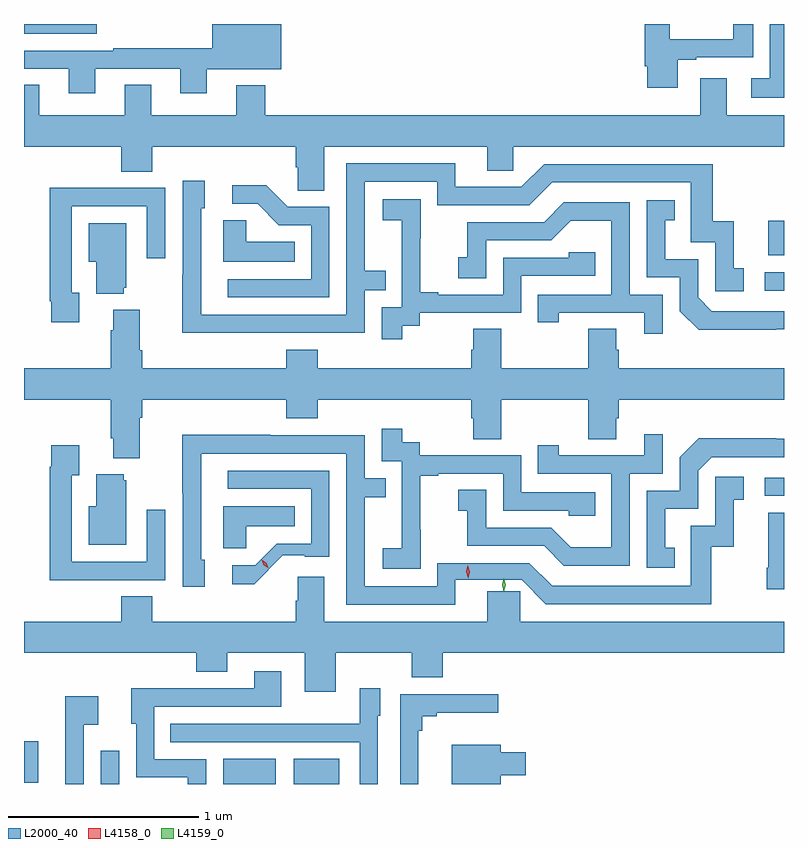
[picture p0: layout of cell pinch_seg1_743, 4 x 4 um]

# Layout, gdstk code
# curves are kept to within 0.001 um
import gdstk
lib = gdstk.Library(unit=1e-6, precision=1e-09)
def R(c, l, rs):  # rectangles x0, y0, x1, y1
    for r in rs: c.add(gdstk.rectangle(r[:2], r[2:], *l))
def P(c, l, *ps):  # polygons
    for p in ps: c.add(gdstk.Polygon(p, *l))
L2000_40 = (2000, 40)
L4158_0 = (4158, 0)
L4159_0 = (4159, 0)

pinch_seg1_743 = lib.new_cell('pinch_seg1_743')
R(pinch_seg1_743, L2000_40, [(831.162,541.717,831.258,541.891), (831.806,541.717,832.084,541.849), (832.178,541.717,832.417,541.849), (830.758,541.723,830.833,541.942), (834.657,543.234,834.758,543.33), (834.657,544.314,834.758,544.41), (834.674,544.499,834.758,544.681), (830.758,545.666,831.142,545.717)])
P(pinch_seg1_743, L2000_40, [(834.758,545.717),(834.683,545.717),(834.683,545.431),(834.585,545.431),(834.585,545.33),(834.758,545.33)],
  [(831.133,545.481),(831.581,545.481),(831.581,545.352),(831.721,545.352),(831.721,545.48),(832.111,545.48),(832.111,545.717),(831.749,545.717),(831.749,545.59),(831.229,545.59),(831.229,545.577),(830.758,545.577),(830.758,545.481),(830.993,545.481),(830.993,545.352),(831.133,545.352)],
  [(834.199,545.529),(834.295,545.529),(834.295,545.541),(834.595,545.541),(834.595,545.717),(834.491,545.717),(834.491,545.637),(834.157,545.637),(834.157,545.717),(834.026,545.717),(834.026,545.494),(834.038,545.494),(834.038,545.382),(834.199,545.382)],
  [(832.339,545.072),(833.195,545.072),(833.195,544.945),(833.334,544.945),(833.334,545.072),(834.758,545.072),(834.758,545.236),(834.457,545.236),(834.457,545.431),(834.317,545.431),(834.317,545.236),(832.028,545.236),(832.028,545.395),(831.875,545.395),(831.875,545.236),(831.427,545.236),(831.427,545.396),(831.287,545.396),(831.287,545.236),(830.839,545.236),(830.839,545.396),(830.758,545.396),(830.758,545.072),(831.269,545.072),(831.269,544.939),(831.434,544.939),(831.434,545.072),(832.187,545.072),(832.187,544.963),(832.2,544.963),(832.2,544.84),(832.339,544.84)],
  [(832.055,544.092),(832.551,544.092),(832.551,544.317),(832.661,544.317),(832.661,544.418),(832.551,544.418),(832.551,544.887),(832.932,544.887),(832.932,544.764),(833.418,544.764),(833.538,544.884),(834.267,544.884),(834.267,544.569),(834.396,544.569),(834.396,544.311),(834.547,544.311),(834.547,544.431),(834.494,544.431),(834.494,544.678),(834.383,544.678),(834.383,544.98),(833.496,544.98),(833.376,544.86),(833.029,544.86),(833.029,544.983),(832.455,544.983),(832.455,544.188),(831.69,544.188),(831.69,544.746),(831.709,544.746),(831.709,544.891),(831.594,544.891),(831.594,544.397),(831.592,544.397),(831.592,544.091)],
  [(832.365,544.755),(832.146,544.755),(832.033,544.868),(831.855,544.868),(831.855,544.77),(831.989,544.77),(832.1,544.659),(832.269,544.659),(832.269,544.374),(831.831,544.374),(831.831,544.278),(832.365,544.278)],
  [(831.049,544.302),(831.009,544.302),(831.009,544.758),(831.405,544.758),(831.405,544.485),(831.501,544.485),(831.501,544.854),(831.185,544.854),(831.185,544.856),(830.893,544.856),(830.893,544.258),(830.901,544.258),(830.901,544.146),(831.049,544.146)],
  [(832.75,544.129),(832.842,544.129),(832.842,544.197),(833.376,544.197),(833.376,544.392),(833.765,544.392),(833.765,544.515),(833.625,544.515),(833.625,544.488),(833.28,544.488),(833.28,544.293),(832.939,544.293),(832.939,544.306),(832.844,544.306),(832.844,544.589),(832.845,544.589),(832.845,544.795),(832.647,544.795),(832.647,544.685),(832.745,544.685),(832.745,544.457),(832.746,544.457),(832.746,544.227),(832.641,544.227),(832.641,544.059),(832.75,544.059)],
  [(834.716,544.11),(834.758,544.11),(834.758,544.206),(834.378,544.206),(834.306,544.278),(834.306,544.479),(834.133,544.479),(834.133,544.683),(834.182,544.683),(834.182,544.789),(834.036,544.789),(834.036,544.383),(834.21,544.383),(834.21,544.206),(834.308,544.109)],
  [(834.12,544.293),(833.946,544.293),(833.946,544.779),(833.6,544.779),(833.495,544.674),(833.092,544.674),(833.092,544.489),(833.043,544.489),(833.043,544.38),(833.19,544.38),(833.19,544.578),(833.532,544.578),(833.636,544.682),(833.85,544.682),(833.85,544.293),(833.461,544.293),(833.461,544.146),(833.572,544.146),(833.572,544.197),(834.023,544.197),(834.023,544.086),(834.12,544.086)],
  [(832.184,544.57),(831.927,544.57),(831.927,544.685),(831.806,544.685),(831.806,544.466),(832.184,544.466)],
  [(831.284,544.329),(831.295,544.329),(831.295,544.669),(831.098,544.669),(831.098,544.466),(831.137,544.466),(831.137,544.298),(831.284,544.298)],
  [(831.227,544.213),(831.227,544.106),(831.215,544.106),(831.215,543.904),(830.758,543.904),(830.758,543.74),(831.215,543.74),(831.215,543.538),(831.227,543.538),(831.227,543.431),(831.367,543.431),(831.367,543.644),(831.38,543.644),(831.38,543.74),(832.139,543.74),(832.139,543.641),(832.304,543.641),(832.304,543.74),(833.111,543.74),(833.111,543.642),(833.123,543.642),(833.123,543.532),(833.271,543.532),(833.271,543.74),(833.728,543.74),(833.728,543.532),(833.875,543.532),(833.875,543.642),(833.888,543.642),(833.888,543.74),(834.758,543.74),(834.758,543.904),(833.888,543.904),(833.888,544.002),(833.875,544.002),(833.875,544.112),(833.728,544.112),(833.728,543.904),(833.271,543.904),(833.271,544.112),(833.123,544.112),(833.123,544.002),(833.111,544.002),(833.111,543.904),(832.304,543.904),(832.304,544.003),(832.139,544.003),(832.139,543.904),(831.38,543.904),(831.38,544),(831.367,544),(831.367,544.213)],
  [(832.845,543.055),(832.844,543.055),(832.844,543.339),(832.939,543.339),(832.939,543.351),(833.28,543.351),(833.28,543.156),(833.625,543.156),(833.625,543.129),(833.765,543.129),(833.765,543.252),(833.376,543.252),(833.376,543.447),(832.842,543.447),(832.842,543.516),(832.75,543.516),(832.75,543.586),(832.641,543.586),(832.641,543.417),(832.746,543.417),(832.746,543.188),(832.745,543.188),(832.745,542.959),(832.647,542.959),(832.647,542.849),(832.845,542.849)],
  [(833.946,543.351),(834.12,543.351),(834.12,543.559),(834.023,543.559),(834.023,543.447),(833.572,543.447),(833.572,543.499),(833.461,543.499),(833.461,543.351),(833.85,543.351),(833.85,542.962),(833.636,542.962),(833.532,543.066),(833.19,543.066),(833.19,543.265),(833.043,543.265),(833.043,543.155),(833.092,543.155),(833.092,542.97),(833.495,542.97),(833.6,542.865),(833.946,542.865)],
  [(833.029,542.792),(833.377,542.792),(833.504,542.664),(834.376,542.664),(834.376,542.967),(834.494,542.967),(834.494,543.213),(834.547,543.213),(834.547,543.334),(834.396,543.334),(834.396,543.075),(834.267,543.075),(834.267,542.76),(833.538,542.76),(833.418,542.88),(832.932,542.88),(832.932,542.757),(832.551,542.757),(832.551,543.226),(832.661,543.226),(832.661,543.327),(832.551,543.327),(832.551,543.552),(832.055,543.552),(832.055,543.554),(831.592,543.554),(831.592,543.247),(831.594,543.247),(831.594,542.754),(831.709,542.754),(831.709,542.898),(831.69,542.898),(831.69,543.456),(832.455,543.456),(832.455,542.661),(833.029,542.661)],
  [(834.182,542.961),(834.133,542.961),(834.133,543.165),(834.306,543.165),(834.306,543.366),(834.378,543.438),(834.758,543.438),(834.758,543.534),(834.716,543.534),(834.716,543.536),(834.308,543.536),(834.21,543.438),(834.21,543.261),(834.036,543.261),(834.036,542.856),(834.182,542.856)],
  [(831.185,542.79),(831.501,542.79),(831.501,543.16),(831.405,543.16),(831.405,542.886),(831.009,542.886),(831.009,543.343),(831.049,543.343),(831.049,543.499),(830.901,543.499),(830.901,543.386),(830.893,543.386),(830.893,542.789),(831.185,542.789)],
  [(832.121,542.92),(832.235,542.92),(832.235,542.912),(832.365,542.912),(832.365,543.366),(831.831,543.366),(831.831,543.27),(832.269,543.27),(832.269,542.982),(832.088,542.982),(831.974,542.868),(831.855,542.868),(831.855,542.769),(831.97,542.769)],
  [(831.295,543.315),(831.284,543.315),(831.284,543.346),(831.137,543.346),(831.137,543.178),(831.098,543.178),(831.098,542.975),(831.295,542.975)],
  [(831.927,543.074),(832.184,543.074),(832.184,543.178),(831.806,543.178),(831.806,542.959),(831.927,542.959)],
  [(834.758,543.145),(834.674,543.145),(834.674,542.854),(834.667,542.854),(834.667,542.742),(834.758,542.742)],
  [(832.399,542.408),(832.799,542.408),(832.799,542.28),(832.963,542.28),(832.963,542.408),(834.758,542.408),(834.758,542.572),(833.37,542.572),(833.37,542.731),(833.195,542.731),(833.195,542.572),(832.339,542.572),(832.339,542.809),(832.199,542.809),(832.199,542.682),(832.187,542.682),(832.187,542.572),(831.434,542.572),(831.434,542.705),(831.269,542.705),(831.269,542.572),(830.758,542.572),(830.758,542.408),(831.665,542.408),(831.665,542.309),(831.829,542.309),(831.829,542.408),(832.235,542.408),(832.235,542.202),(832.399,542.202)],
  [(831.717,541.848),(831.444,541.848),(831.444,542.124),(832.111,542.124),(832.111,542.311),(831.971,542.311),(831.971,542.22),(831.541,542.22),(831.541,542.222),(831.323,542.222),(831.323,542.034),(831.348,542.034),(831.348,541.752),(831.621,541.752),(831.621,541.717),(831.717,541.717)],
  [(832.62,542.076),(832.633,542.076),(832.633,542.221),(832.524,542.221),(832.524,542.035),(832.207,542.035),(832.207,542.034),(831.529,542.034),(831.529,541.938),(832.524,541.938),(832.524,541.717),(832.62,541.717)],
  [(832.834,541.997),(832.853,541.997),(832.853,542.074),(832.93,542.074),(832.93,542.093),(833.254,542.093),(833.254,542.19),(832.737,542.19),(832.737,541.717),(832.834,541.717)],
  [(831.072,542.03),(831.148,542.03),(831.148,542.179),(830.975,542.179),(830.975,541.717),(831.072,541.717)],
  [(833.266,541.763),(833.398,541.763),(833.398,541.885),(833.266,541.885),(833.266,541.924),(833.009,541.924),(833.009,541.717),(833.266,541.717)])
P(pinch_seg1_743, L4158_0, [(832.044,542.854),(832.019,542.868),(832.008,542.896),(832.008,542.896),(832.008,542.896),(832.034,542.882),(832.044,542.854),(832.044,542.854)],
  [(833.096,542.8),(833.096,542.8),(833.085,542.834),(833.094,542.868),(833.094,542.869),(833.094,542.868),(833.105,542.834),(833.096,542.8)])
P(pinch_seg1_743, L4159_0, [(833.284,542.729),(833.284,542.73),(833.274,542.765),(833.284,542.801),(833.284,542.801),(833.284,542.801),(833.294,542.765),(833.284,542.73)])

lib.write_gds('pinch_seg1_743.gds')
